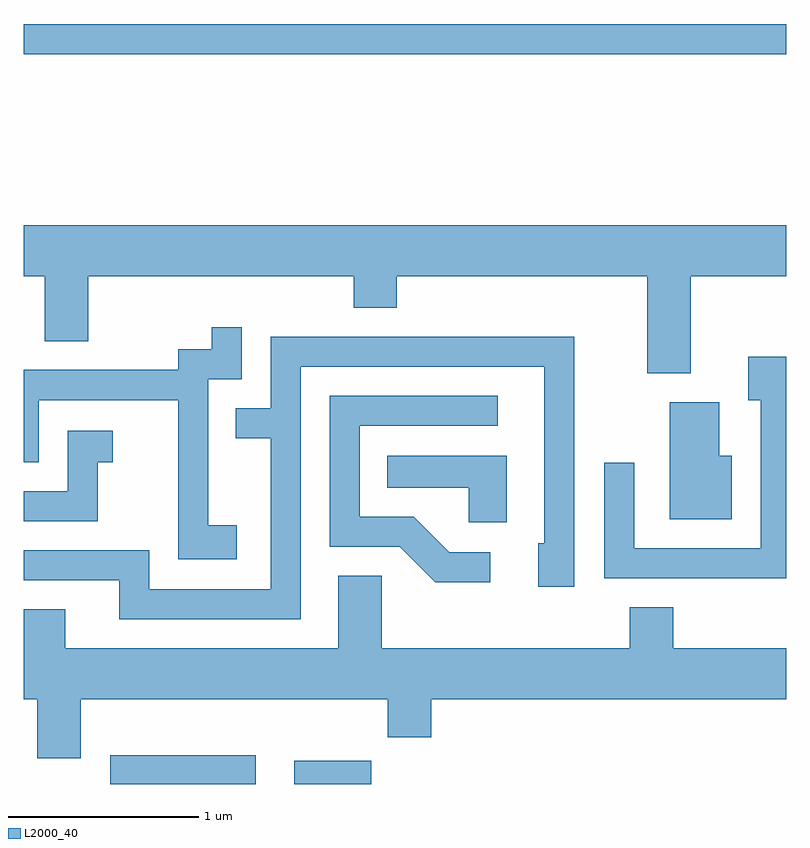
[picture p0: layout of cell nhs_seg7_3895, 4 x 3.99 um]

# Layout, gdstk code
import gdstk
lib = gdstk.Library(unit=1e-6, precision=1e-09)
def R(c, l, rs):  # rectangles x0, y0, x1, y1
    for r in rs: c.add(gdstk.rectangle(r[:2], r[2:], *l))
def P(c, l, *ps):  # polygons
    for p in ps: c.add(gdstk.Polygon(p, *l))
L2000_40 = (2000, 40)

nhs_seg7_3895 = lib.new_cell('nhs_seg7_3895')
R(nhs_seg7_3895, L2000_40, [(304.066,1778.252,304.829,1778.404), (305.031,1778.252,305.434,1778.374), (303.611,1782.081,307.611,1782.239)])
P(nhs_seg7_3895, L2000_40, [(307.109,1780.916),(307.611,1780.916),(307.611,1781.184),(303.611,1781.184),(303.611,1780.916),(303.721,1780.916),(303.721,1780.576),(303.949,1780.576),(303.949,1780.916),(305.341,1780.916),(305.341,1780.751),(305.569,1780.751),(305.569,1780.916),(306.881,1780.916),(306.881,1780.406),(307.109,1780.406)],
  [(304.729,1779.609),(304.579,1779.609),(304.579,1780.376),(304.754,1780.376),(304.754,1780.648),(304.596,1780.648),(304.596,1780.534),(304.421,1780.534),(304.421,1780.424),(303.611,1780.424),(303.611,1779.941),(303.689,1779.941),(303.689,1780.266),(304.421,1780.266),(304.421,1779.431),(304.729,1779.431)],
  [(305.064,1780.441),(306.341,1780.441),(306.341,1779.514),(306.311,1779.514),(306.311,1779.286),(306.499,1779.286),(306.499,1780.599),(304.906,1780.599),(304.906,1780.224),(304.723,1780.224),(304.723,1780.066),(304.906,1780.066),(304.906,1779.274),(304.269,1779.274),(304.269,1779.479),(303.611,1779.479),(303.611,1779.321),(304.111,1779.321),(304.111,1779.116),(305.064,1779.116)],
  [(307.611,1780.494),(307.411,1780.494),(307.411,1780.266),(307.476,1780.266),(307.476,1779.489),(306.814,1779.489),(306.814,1779.938),(306.656,1779.938),(306.656,1779.331),(307.611,1779.331)],
  [(306.058,1779.469),(305.842,1779.469),(305.657,1779.654),(305.374,1779.654),(305.374,1780.131),(306.098,1780.131),(306.098,1780.289),(305.216,1780.289),(305.216,1779.496),(305.584,1779.496),(305.769,1779.311),(306.058,1779.311)],
  [(307.324,1779.974),(307.259,1779.974),(307.259,1780.254),(307.001,1780.254),(307.001,1779.641),(307.324,1779.641)],
  [(303.999,1779.941),(304.078,1779.941),(304.078,1780.104),(303.841,1780.104),(303.841,1779.789),(303.611,1779.789),(303.611,1779.631),(303.999,1779.631)],
  [(306.144,1779.974),(305.518,1779.974),(305.518,1779.806),(305.946,1779.806),(305.946,1779.626),(306.144,1779.626)],
  [(303.909,1778.696),(305.521,1778.696),(305.521,1778.496),(305.749,1778.496),(305.749,1778.696),(307.611,1778.696),(307.611,1778.964),(307.019,1778.964),(307.019,1779.179),(306.791,1779.179),(306.791,1778.964),(305.489,1778.964),(305.489,1779.344),(305.261,1779.344),(305.261,1778.964),(303.829,1778.964),(303.829,1779.169),(303.611,1779.169),(303.611,1778.696),(303.681,1778.696),(303.681,1778.386),(303.909,1778.386)])

lib.write_gds('nhs_seg7_3895.gds')
